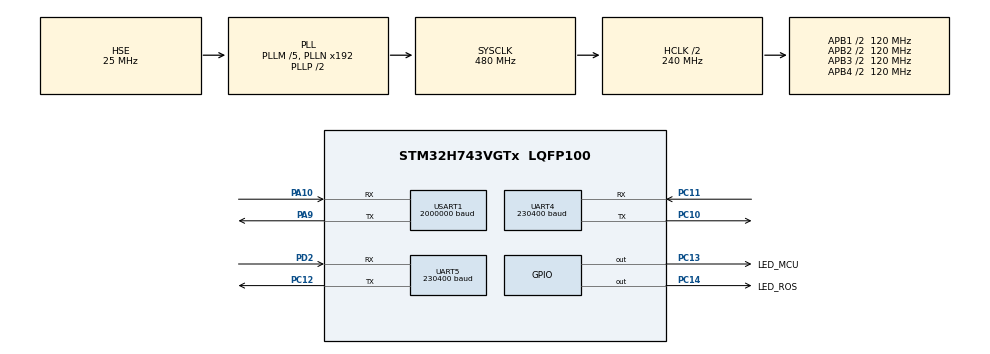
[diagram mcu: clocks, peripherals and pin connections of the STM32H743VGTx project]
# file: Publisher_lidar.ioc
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CORTEX_M7.default_mode_Activation=1
Dma.Request0=UART4_RX
Dma.Request1=UART5_RX
Dma.Request2=USART1_RX
Dma.Request3=USART1_TX
Dma.UART4_RX.0.Direction=DMA_PERIPH_TO_MEMORY
Dma.UART4_RX.0.EventEnable=DISABLE
Dma.UART4_RX.0.FIFOMode=DMA_FIFOMODE_DISABLE
Dma.UART4_RX.0.Instance=DMA1_Stream2
Dma.UART4_RX.0.MemDataAlignment=DMA_MDATAALIGN_BYTE
Dma.UART4_RX.0.MemInc=DMA_MINC_ENABLE
Dma.UART4_RX.0.Mode=DMA_CIRCULAR
Dma.UART4_RX.0.PeriphDataAlignment=DMA_PDATAALIGN_BYTE
Dma.UART4_RX.0.PeriphInc=DMA_PINC_DISABLE
Dma.UART4_RX.0.Polarity=HAL_DMAMUX_REQ_GEN_RISING
Dma.UART4_RX.0.Priority=DMA_PRIORITY_LOW
Dma.UART4_RX.0.RequestNumber=1
Dma.UART4_RX.0.SignalID=NONE
Dma.UART4_RX.0.SyncEnable=DISABLE
Dma.UART4_RX.0.SyncPolarity=HAL_DMAMUX_SYNC_NO_EVENT
Dma.UART4_RX.0.SyncRequestNumber=1
Dma.UART4_RX.0.SyncSignalID=NONE
Dma.UART5_RX.1.Direction=DMA_PERIPH_TO_MEMORY
Dma.UART5_RX.1.EventEnable=DISABLE
Dma.UART5_RX.1.FIFOMode=DMA_FIFOMODE_DISABLE
Dma.UART5_RX.1.Instance=DMA1_Stream3
Dma.UART5_RX.1.MemDataAlignment=DMA_MDATAALIGN_BYTE
Dma.UART5_RX.1.MemInc=DMA_MINC_ENABLE
Dma.UART5_RX.1.Mode=DMA_CIRCULAR
Dma.UART5_RX.1.PeriphDataAlignment=DMA_PDATAALIGN_BYTE
Dma.UART5_RX.1.PeriphInc=DMA_PINC_DISABLE
Dma.UART5_RX.1.Polarity=HAL_DMAMUX_REQ_GEN_RISING
Dma.UART5_RX.1.Priority=DMA_PRIORITY_LOW
Dma.UART5_RX.1.RequestNumber=1
Dma.UART5_RX.1.SignalID=NONE
Dma.UART5_RX.1.SyncEnable=DISABLE
Dma.UART5_RX.1.SyncPolarity=HAL_DMAMUX_SYNC_NO_EVENT
Dma.UART5_RX.1.SyncRequestNumber=1
Dma.UART5_RX.1.SyncSignalID=NONE
Dma.USART1_RX.2.Direction=DMA_PERIPH_TO_MEMORY
Dma.USART1_RX.2.EventEnable=DISABLE
Dma.USART1_RX.2.FIFOMode=DMA_FIFOMODE_DISABLE
Dma.USART1_RX.2.Instance=DMA1_Stream0
Dma.USART1_RX.2.MemDataAlignment=DMA_MDATAALIGN_BYTE
Dma.USART1_RX.2.MemInc=DMA_MINC_ENABLE
Dma.USART1_RX.2.Mode=DMA_CIRCULAR
Dma.USART1_RX.2.PeriphDataAlignment=DMA_PDATAALIGN_BYTE
Dma.USART1_RX.2.PeriphInc=DMA_PINC_DISABLE
Dma.USART1_RX.2.Polarity=HAL_DMAMUX_REQ_GEN_RISING
Dma.USART1_RX.2.Priority=DMA_PRIORITY_LOW
Dma.USART1_RX.2.RequestNumber=1
Dma.USART1_RX.2.SignalID=NONE
Dma.USART1_RX.2.SyncEnable=DISABLE
Dma.USART1_RX.2.SyncPolarity=HAL_DMAMUX_SYNC_NO_EVENT
Dma.USART1_RX.2.SyncRequestNumber=1
Dma.USART1_RX.2.SyncSignalID=NONE
Dma.USART1_TX.3.Direction=DMA_MEMORY_TO_PERIPH
Dma.USART1_TX.3.EventEnable=DISABLE
Dma.USART1_TX.3.FIFOMode=DMA_FIFOMODE_DISABLE
Dma.USART1_TX.3.Instance=DMA1_Stream1
Dma.USART1_TX.3.MemDataAlignment=DMA_MDATAALIGN_BYTE
Dma.USART1_TX.3.MemInc=DMA_MINC_ENABLE
Dma.USART1_TX.3.Mode=DMA_NORMAL
Dma.USART1_TX.3.PeriphDataAlignment=DMA_PDATAALIGN_BYTE
Dma.USART1_TX.3.PeriphInc=DMA_PINC_DISABLE
Dma.USART1_TX.3.Polarity=HAL_DMAMUX_REQ_GEN_RISING
Dma.USART1_TX.3.Priority=DMA_PRIORITY_LOW
Dma.USART1_TX.3.RequestNumber=1
Dma.USART1_TX.3.SignalID=NONE
Dma.USART1_TX.3.SyncEnable=DISABLE
Dma.USART1_TX.3.SyncPolarity=HAL_DMAMUX_SYNC_NO_EVENT
Dma.USART1_TX.3.SyncRequestNumber=1
Dma.USART1_TX.3.SyncSignalID=NONE
FREERTOS.Tasks01=defaultTask,8,500,StartDefaultTask,Default,NULL,Dynamic,NULL,NULL;myTaskRos,24,3000,StartTaskRos,Default,NULL,Dynamic,NULL,NULL;myTaskLidar,25,500,StartTaskLidar,Default,NULL,Dynamic,NULL,NULL
FREERTOS.configTOTAL_HEAP_SIZE=50000
FREERTOS.configUSE_NEWLIB_REENTRANT=1
Mcu.Family=STM32H7
Mcu.Name=STM32H743VGTx
Mcu.Package=LQFP100
NVIC.DMA1_Stream0_IRQn=true\:5\:0\:false\:false\:true\:true\:false\:true\:true
NVIC.DMA1_Stream1_IRQn=true\:5\:0\:false\:false\:true\:true\:false\:true\:true
NVIC.DMA1_Stream2_IRQn=true\:5\:0\:false\:false\:true\:true\:false\:true\:true
NVIC.DMA1_Stream3_IRQn=true\:5\:0\:false\:false\:true\:true\:false\:true\:true
NVIC.PriorityGroup=NVIC_PRIORITYGROUP_4
NVIC.TIM7_IRQn=true\:15\:0\:false\:false\:true\:false\:false\:true\:true
NVIC.TimeBase=TIM7_IRQn
NVIC.TimeBaseIP=TIM7
NVIC.UART4_IRQn=true\:5\:0\:false\:false\:true\:true\:true\:true\:true
NVIC.UART5_IRQn=true\:5\:0\:false\:false\:true\:true\:true\:true\:true
NVIC.USART1_IRQn=true\:5\:0\:false\:false\:true\:true\:true\:true\:true
PA10.Mode=Asynchronous
PA10.PinAttribute=Free
PA10.Signal=USART1_RX
PA13\ (JTMS/SWDIO).Mode=Serial_Wire
PA13\ (JTMS/SWDIO).PinAttribute=Free
PA13\ (JTMS/SWDIO).Signal=DEBUG_JTMS-SWDIO
PA14\ (JTCK/SWCLK).Mode=Serial_Wire
PA14\ (JTCK/SWCLK).PinAttribute=Free
PA14\ (JTCK/SWCLK).Signal=DEBUG_JTCK-SWCLK
PA9.Mode=Asynchronous
PA9.PinAttribute=Free
PA9.Signal=USART1_TX
PC10.Mode=Asynchronous
PC10.PinAttribute=Free
PC10.Signal=UART4_TX
PC11.Mode=Asynchronous
PC11.PinAttribute=Free
PC11.Signal=UART4_RX
PC12.Mode=Asynchronous
PC12.PinAttribute=Free
PC12.Signal=UART5_TX
PC13.GPIO_Label=LED_MCU
PC13.Signal=GPIO_Output
PC14-OSC32_IN\ (OSC32_IN).GPIO_Label=LED_ROS
PC14-OSC32_IN\ (OSC32_IN).Signal=GPIO_Output
PD2.Mode=Asynchronous
PD2.PinAttribute=Free
PD2.Signal=UART5_RX
PH0-OSC_IN\ (PH0).Mode=HSE-External-Oscillator
PH0-OSC_IN\ (PH0).Signal=RCC_OSC_IN
PH1-OSC_OUT\ (PH1).Mode=HSE-External-Oscillator
PH1-OSC_OUT\ (PH1).Signal=RCC_OSC_OUT
ProjectManager.HeapSize=0x200
ProjectManager.StackSize=0x400
ProjectManager.TargetToolchain=STM32CubeIDE
RCC.ADCFreq_Value=75000000
RCC.APB1Freq_Value=120000000
RCC.APB2Freq_Value=120000000
RCC.APB3Freq_Value=120000000
RCC.APB4Freq_Value=120000000
RCC.CortexFreq_Value=480000000
RCC.D1PPRE=RCC_APB3_DIV2
RCC.D2PPRE1=RCC_APB1_DIV2
RCC.D2PPRE2=RCC_APB2_DIV2
RCC.D3PPRE=RCC_APB4_DIV2
RCC.DIVM1=5
RCC.DIVM2=2
RCC.DIVN1=192
RCC.DIVN2=12
RCC.DIVQ1=8
RCC.HCLKFreq_Value=240000000
RCC.HPRE=RCC_HCLK_DIV2
RCC.PLL1_VCO_SEL-AdvancedSettings=RCC_PLL1VCOMEDIUM
RCC.PLL2FRACN=0
RCC.PLL2_VCI_Range-AdvancedSettings=RCC_PLL2VCIRANGE_0
RCC.PLL3_VCI_Range-AdvancedSettings=RCC_PLL3VCIRANGE_0
RCC.PLLFRACN=0
RCC.PLLSourceVirtual=RCC_PLLSOURCE_HSE
RCC.SYSCLKFreq_VALUE=480000000
RCC.SYSCLKSource=RCC_SYSCLKSOURCE_PLLCLK
RCC.USBCLockSelection=RCC_USBCLKSOURCE_HSI48
RCC.USBFreq_Value=48000000
UART4.BaudRate=230400
UART5.BaudRate=230400
USART1.BaudRate=2000000
USART1.VirtualMode-Asynchronous=VM_ASYNC
VP_FREERTOS_VS_CMSIS_V2.Mode=CMSIS_V2
VP_MEMORYMAP_VS_MEMORYMAP.Mode=CurAppReg
VP_SYS_VS_tim7.Mode=TIM7
board=custom

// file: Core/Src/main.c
/* USER CODE BEGIN Header */
/**
  ******************************************************************************
  * @file           : main.c
  * @brief          : Main program body
  ******************************************************************************
  * @attention
  *
  * Copyright (c) 2024 STMicroelectronics.
  * All rights reserved.
  *
  * This software is licensed under terms that can be found in the LICENSE file
  * in the root directory of this software component.
  * If no LICENSE file comes with this software, it is provided AS-IS.
  *
  ******************************************************************************
  */
/* USER CODE END Header */
#include "main.h"
#include "cmsis_os.h"
#include "dma.h"
#include "memorymap.h"
#include "usart.h"
#include "gpio.h"

/* USER CODE BEGIN Includes */
#include "app.h"
/* USER CODE END Includes */

void SystemClock_Config(void);
static void MPU_Config(void);
void MX_FREERTOS_Init(void);

int main(void)
{

  /* MPU Configuration--------------------------------------------------------*/
  MPU_Config();

  /* MCU Configuration--------------------------------------------------------*/

  /* Reset of all peripherals, Initializes the Flash interface and the Systick. */
  HAL_Init();

  /* Configure the system clock */
  SystemClock_Config();

  /* Initialize all configured peripherals */
  MX_GPIO_Init();
  MX_DMA_Init();
  MX_USART1_UART_Init();
  MX_UART4_Init();
  MX_UART5_Init();

  /* Init scheduler */
  osKernelInitialize();

  /* Call init function for freertos objects (in cmsis_os2.c) */
  MX_FREERTOS_Init();

  /* Start scheduler */
  osKernelStart();

  /* We should never get here as control is now taken by the scheduler */

  /* Infinite loop */
  while (1)
  {

  }
}

void SystemClock_Config(void)
{
  RCC_OscInitTypeDef RCC_OscInitStruct = {0};
  RCC_ClkInitTypeDef RCC_ClkInitStruct = {0};

  /** Supply configuration update enable
  */
  HAL_PWREx_ConfigSupply(PWR_LDO_SUPPLY);

  /** Configure the main internal regulator output voltage
  */
  __HAL_PWR_VOLTAGESCALING_CONFIG(PWR_REGULATOR_VOLTAGE_SCALE1);

  while(!__HAL_PWR_GET_FLAG(PWR_FLAG_VOSRDY)) {}

  __HAL_RCC_SYSCFG_CLK_ENABLE();
  __HAL_PWR_VOLTAGESCALING_CONFIG(PWR_REGULATOR_VOLTAGE_SCALE0);

  while(!__HAL_PWR_GET_FLAG(PWR_FLAG_VOSRDY)) {}

  /** Initializes the RCC Oscillators according to the specified parameters
  * in the RCC_OscInitTypeDef structure.
  */
  RCC_OscInitStruct.OscillatorType = RCC_OSCILLATORTYPE_HSE;
  RCC_OscInitStruct.HSEState = RCC_HSE_ON;
  RCC_OscInitStruct.PLL.PLLState = RCC_PLL_ON;
  RCC_OscInitStruct.PLL.PLLSource = RCC_PLLSOURCE_HSE;
  RCC_OscInitStruct.PLL.PLLM = 5;
  RCC_OscInitStruct.PLL.PLLN = 192;
  RCC_OscInitStruct.PLL.PLLP = 2;
  RCC_OscInitStruct.PLL.PLLQ = 8;
  RCC_OscInitStruct.PLL.PLLR = 2;
  RCC_OscInitStruct.PLL.PLLRGE = RCC_PLL1VCIRANGE_2;
  RCC_OscInitStruct.PLL.PLLVCOSEL = RCC_PLL1VCOWIDE;
  RCC_OscInitStruct.PLL.PLLFRACN = 0;
  if (HAL_RCC_OscConfig(&RCC_OscInitStruct) != HAL_OK)
  {
    Error_Handler();
  }

  /** Initializes the CPU, AHB and APB buses clocks
  */
  RCC_ClkInitStruct.ClockType = RCC_CLOCKTYPE_HCLK|RCC_CLOCKTYPE_SYSCLK
                              |RCC_CLOCKTYPE_PCLK1|RCC_CLOCKTYPE_PCLK2
                              |RCC_CLOCKTYPE_D3PCLK1|RCC_CLOCKTYPE_D1PCLK1;
  RCC_ClkInitStruct.SYSCLKSource = RCC_SYSCLKSOURCE_PLLCLK;
  RCC_ClkInitStruct.SYSCLKDivider = RCC_SYSCLK_DIV1;
  RCC_ClkInitStruct.AHBCLKDivider = RCC_HCLK_DIV2;
  RCC_ClkInitStruct.APB3CLKDivider = RCC_APB3_DIV2;
  RCC_ClkInitStruct.APB1CLKDivider = RCC_APB1_DIV2;
  RCC_ClkInitStruct.APB2CLKDivider = RCC_APB2_DIV2;
  RCC_ClkInitStruct.APB4CLKDivider = RCC_APB4_DIV2;

  if (HAL_RCC_ClockConfig(&RCC_ClkInitStruct, FLASH_LATENCY_4) != HAL_OK)
  {
    Error_Handler();
  }
}

/* USER CODE BEGIN 4 */
// #ifdef __GNUC__
// #define PUTCHAR_PROTOTYPE int __io_putchar(int ch)
// #else
// #define PUTCHAR_PROTOTYPE int fputc(int ch, FILE *f)
// #endif /* __GNUC__ */
// PUTCHAR_PROTOTYPE
// {
//     /* Place your implementation of fputc here */
//     /* e.g. write a character to the EVAL_COM1 and Loop until the end of transmission */
//     HAL_UART_Transmit(&huart6, (uint8_t *)&ch, 1, 0xFFFF);
//     return ch;
// }
int _write(int file, char*p, int len)
{
  HAL_UART_Transmit(&huart5, (uint8_t *)p, len, 0xFF);
  return len;
}
/* USER CODE END 4 */

 /* MPU Configuration */

void MPU_Config(void)
{
  MPU_Region_InitTypeDef MPU_InitStruct = {0};

  /* Disables the MPU */
  HAL_MPU_Disable();

  /** Initializes and configures the Region and the memory to be protected
  */
  MPU_InitStruct.Enable = MPU_REGION_ENABLE;
  MPU_InitStruct.Number = MPU_REGION_NUMBER0;
  MPU_InitStruct.BaseAddress = 0x0;
  MPU_InitStruct.Size = MPU_REGION_SIZE_4GB;
  MPU_InitStruct.SubRegionDisable = 0x87;
  MPU_InitStruct.TypeExtField = MPU_TEX_LEVEL0;
  MPU_InitStruct.AccessPermission = MPU_REGION_NO_ACCESS;
  MPU_InitStruct.DisableExec = MPU_INSTRUCTION_ACCESS_DISABLE;
  MPU_InitStruct.IsShareable = MPU_ACCESS_SHAREABLE;
  MPU_InitStruct.IsCacheable = MPU_ACCESS_NOT_CACHEABLE;
  MPU_InitStruct.IsBufferable = MPU_ACCESS_NOT_BUFFERABLE;

  HAL_MPU_ConfigRegion(&MPU_InitStruct);
  /* Enables the MPU */
  HAL_MPU_Enable(MPU_PRIVILEGED_DEFAULT);

}

void HAL_TIM_PeriodElapsedCallback(TIM_HandleTypeDef *htim)
{
  if (htim->Instance == TIM7) {
    HAL_IncTick();
  }
}

void Error_Handler(void)
{
  __disable_irq();
  while (1)
  {
  }
}

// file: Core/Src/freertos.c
/* USER CODE BEGIN Header */
/**
  ******************************************************************************
  * File Name          : freertos.c
  * Description        : Code for freertos applications
  ******************************************************************************
  * @attention
  *
  * Copyright (c) 2024 STMicroelectronics.
  * All rights reserved.
  *
  * This software is licensed under terms that can be found in the LICENSE file
  * in the root directory of this software component.
  * If no LICENSE file comes with this software, it is provided AS-IS.
  *
  ******************************************************************************
  */
/* USER CODE END Header */

#include "FreeRTOS.h"
#include "task.h"
#include "main.h"
#include "cmsis_os.h"

/* USER CODE BEGIN Includes */
#include "usart.h"
#include "app.h"
#include "ros2_handle.h"
#include "app_lidar.h"

/* USER CODE END Includes */

/* Definitions for defaultTask */
osThreadId_t defaultTaskHandle;
const osThreadAttr_t defaultTask_attributes = {
  .name = "defaultTask",
  .stack_size = 500 * 4,
  .priority = (osPriority_t) osPriorityLow,
};
/* Definitions for myTaskRos */
osThreadId_t myTaskRosHandle;
const osThreadAttr_t myTaskRos_attributes = {
  .name = "myTaskRos",
  .stack_size = 3000 * 4,
  .priority = (osPriority_t) osPriorityNormal,
};
/* Definitions for myTaskLidar */
osThreadId_t myTaskLidarHandle;
const osThreadAttr_t myTaskLidar_attributes = {
  .name = "myTaskLidar",
  .stack_size = 500 * 4,
  .priority = (osPriority_t) osPriorityNormal1,
};

void StartDefaultTask(void *argument);
void StartTaskRos(void *argument);
void StartTaskLidar(void *argument);

void MX_FREERTOS_Init(void); /* (MISRA C 2004 rule 8.1) */

void MX_FREERTOS_Init(void) {

  /* Create the thread(s) */
  /* creation of defaultTask */
  defaultTaskHandle = osThreadNew(StartDefaultTask, NULL, &defaultTask_attributes);

  /* creation of myTaskRos */
  myTaskRosHandle = osThreadNew(StartTaskRos, NULL, &myTaskRos_attributes);

  /* creation of myTaskLidar */
  myTaskLidarHandle = osThreadNew(StartTaskLidar, NULL, &myTaskLidar_attributes);

}

void StartDefaultTask(void *argument)
{
  /* USER CODE BEGIN StartDefaultTask */
  App_Handle();
  /* Infinite loop */
  for(;;)
  {

    osDelay(1000);
  }
  /* USER CODE END StartDefaultTask */
}

void StartTaskRos(void *argument)
{
  /* USER CODE BEGIN StartTaskRos */
  osDelay(100);

  Ros2_Handle_Task();

  /* Infinite loop */
  for(;;)
  {
    osDelay(1000);
  }
  /* USER CODE END StartTaskRos */
}

void StartTaskLidar(void *argument)
{
  /* USER CODE BEGIN StartTaskLidar */
  Lidar_Handle_Task();
  /* Infinite loop */
  for(;;)
  {
    osDelay(1000);
  }
  /* USER CODE END StartTaskLidar */
}
